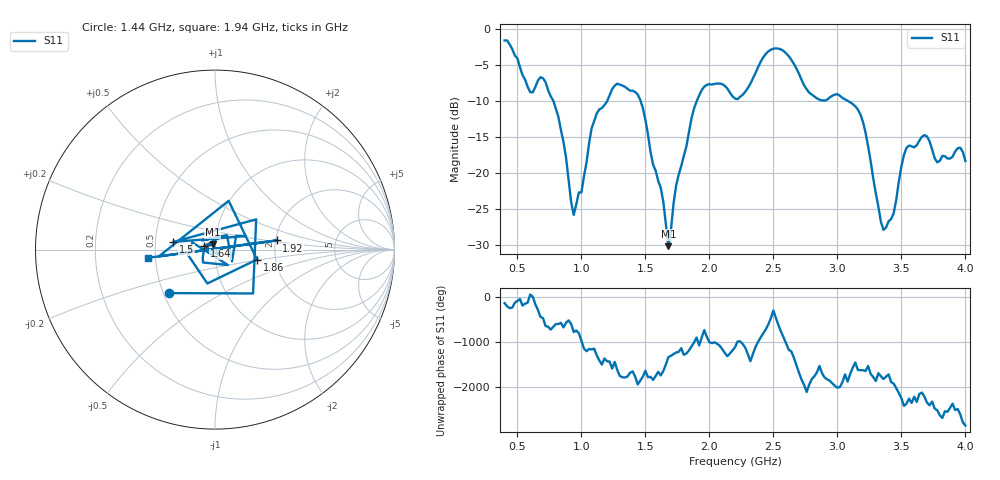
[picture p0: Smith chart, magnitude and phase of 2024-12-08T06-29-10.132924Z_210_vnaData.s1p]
!Created with skrf (http://scikit-rf.org).
# Hz S RI R 50.0
!freq ReS11 ImS11
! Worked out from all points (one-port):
!   181 points, 400 MHz to 4 GHz, reference 50 ohm
!   lowest |S11| = -30.1 dB at 1.68 GHz (marker M1), VSWR 1.06, Z = 48.7 + j2.79 ohm
!   |S11| at or under -10 dB: 782.2 MHz to 1.201 GHz (418.4 MHz wide, 42.2 % of centre); 1.464 GHz to 1.9 GHz (436.9 MHz wide, 26 % of centre); 3.087 GHz to end of sweep
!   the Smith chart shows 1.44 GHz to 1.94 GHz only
!   S11 on the Smith chart (normalised r, x): 1.44 GHz: 0.53, -0.30; 1.5 GHz: 0.62, +0.06; 1.64 GHz: 0.89, +0.03; 1.86 GHz: 1.60, -0.19; 1.92 GHz: 2.03, +0.24; 1.94 GHz: 0.45, -0.05
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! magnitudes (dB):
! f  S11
! 400 MHz  -1.5
! 600 MHz  -8.7
! 720 MHz  -7.3
! 860 MHz  -15.6
! 940 MHz  -25.8
! 1.12 GHz  -11.7
! 1.3 GHz  -7.7
! 1.44 GHz  -9.0
! 1.5 GHz  -12.6
! 1.64 GHz  -24.0
! 1.68 GHz  -30.1
! 1.76 GHz  -20.2
! 1.86 GHz  -12.4
! 1.92 GHz  -9.2
! 1.94 GHz  -8.4
! 2.2 GHz  -9.6
! 2.48 GHz  -2.8
! 2.66 GHz  -4.8
! 2.84 GHz  -9.6
! 3.1 GHz  -10.1
! 3.2 GHz  -12.9
! 3.36 GHz  -27.8
! 3.44 GHz  -25.5
! 3.56 GHz  -16.1
! 3.68 GHz  -14.7
! 3.78 GHz  -18.5
! 3.96 GHz  -16.4
! 4 GHz  -18.3
